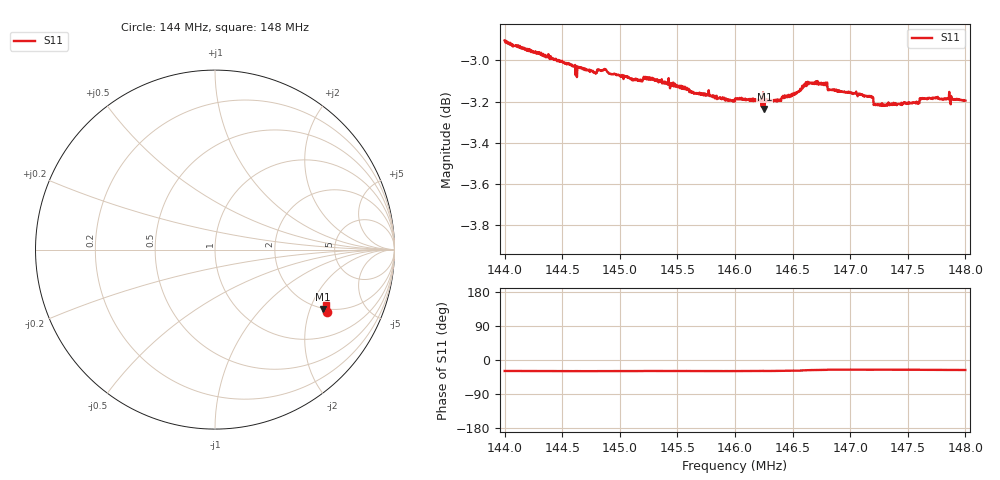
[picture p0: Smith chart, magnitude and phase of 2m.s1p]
! Calibrated averaged scanner-service zoom
# Hz S RI R 50
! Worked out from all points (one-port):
!   1001 points, 144 MHz to 148 MHz, reference 50 ohm
!   lowest |S11| = -3.2 dB at 146.26 MHz (marker M1), VSWR 5.43, Z = 98.1 - j124 ohm
!   |S11| at or under -10 dB: nowhere
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1.44e8  0.6263 -0.3467
1.445e8  0.617 -0.3467
1.4478e8  0.6124 -0.3458
1.4486e8  0.6144 -0.3443
1.45e8  0.6122 -0.3431
1.45176e8  0.6112 -0.342
1.45224e8  0.6133 -0.3403
1.4526e8  0.613 -0.3398
1.455e8  0.6099 -0.3383
1.4558e8  0.6096 -0.3383
1.45636e8  0.6066 -0.3396
1.45952e8  0.6038 -0.3386
1.46e8  0.6034 -0.3385
1.46256e8  0.6034 -0.3325
1.4638e8  0.6063 -0.3343
1.46424e8  0.6084 -0.3321
1.465e8  0.6117 -0.3298
1.46564e8  0.6155 -0.3257
1.46616e8  0.623 -0.3178
1.46648e8  0.6248 -0.3139
1.4678e8  0.6275 -0.3063
1.46824e8  0.6289 -0.2989
1.47e8  0.6277 -0.2994
1.4718e8  0.6254 -0.3008
1.47224e8  0.6232 -0.2976
1.475e8  0.6227 -0.2999
1.4774e8  0.6227 -0.3045
1.48e8  0.6202 -0.3075
